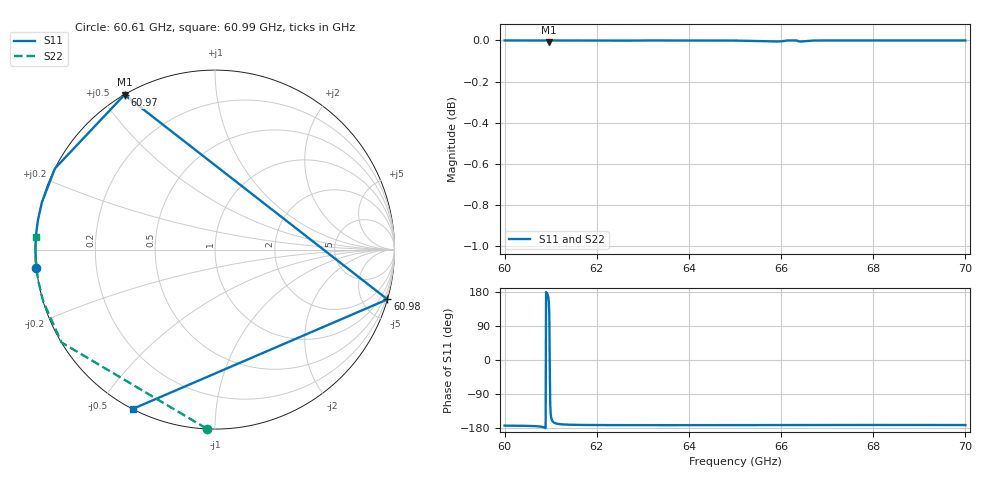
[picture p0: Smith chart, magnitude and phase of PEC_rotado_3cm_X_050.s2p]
! TOUCHSTONE file generated by CST MICROWAVE STUDIO
! Date and time: Sat Feb 17 19:24:12 2024
! Project name: metal_rotado.cst
! Parameters = {PX=0.5; angX=2; angY=2}
! Header version: 2018
! Port assignment regex: !\s*Touchstone port\s*([0-9]+)\s*=\s*(CST MWS port|CST DS port)\s*([0-9]+|Zmin|Zmax)\s*\(\"(.*)\"\)(\s*mode\s*([0-9]+))?.*
! Touchstone port assignment:
! Touchstone port 1 = CST MWS port 1 ("")
! Touchstone port 2 = CST MWS port 2 ("")
# GHz S MA R 376.7
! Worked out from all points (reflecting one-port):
!   1001 points, 60 GHz to 70 GHz, reference 376.7 ohm
!   lowest |S11| = 0.0 dB at 60.97 GHz (marker M1)
!   phase of S11 starts at -173 deg and turns -358 deg over the sweep
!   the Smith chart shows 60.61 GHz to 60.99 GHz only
!   S11 on the Smith chart (normalised r, x): 60.61 GHz: 0.00, -0.05; 60.97 GHz: 0.00, +0.57; 60.98 GHz: -0.00, -7.07; 60.99 GHz: 0.00, -0.61
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60  1 -173.2  0 0.0  0 0.0  1 173.7
60.45  1 -173.7  8.012e-66 180.0  8.012e-66 180.0  1 171.0
60.53  1 -173.9  8.012e-66 180.0  8.012e-66 180.0  1 167.2
60.55  1 -174.0  8.012e-66 180.0  8.012e-66 180.0  1 164.6
60.61  1 -174.2  8.006e-66 -180.0  8.006e-66 -180.0  0.9984 -92.7
60.66  1 -174.5  7.011e-66 -180.0  7.011e-66 -180.0  1 -175.4
60.71  1 -174.9  7.011e-66 -180.0  7.011e-66 -180.0  1 179.8
60.85  1 -177.6  6.009e-66 180.0  6.009e-66 180.0  1 176.7
60.91  1 177.9  5.008e-66 180.0  5.008e-66 180.0  1 176.3
60.93  1 174.0  3.558e-78 0.0  3.558e-78 0.0  1 176.2
60.97  0.9991 120.3  4.005e-66 180.0  4.005e-66 180.0  1 176.0
60.98  1 -16.1  4e-66 -180.0  4e-66 -180.0  1 175.9
60.99  1 -117.4  4.004e-66 -180.0  4.004e-66 -180.0  1 175.9
61.03  1 -159.3  4.006e-66 -180.0  4.006e-66 -180.0  1 175.7
61.04  1 -161.4  4.006e-66 -180.0  4.006e-66 -180.0  1 175.7
61.08  1 -165.7  4.006e-66 -180.0  4.006e-66 -180.0  1 175.6
61.67  1 -171.4  4.006e-66 -180.0  4.006e-66 -180.0  1 174.8
63.34  1 -172.0  1.002e-66 -180.0  1.002e-66 -180.0  1 174.5
65  0.9999 -171.9  0 0.0  0 0.0  1 174.4
66.67  0.9999 -171.5  4.006e-66 0.0  4.006e-66 0.0  0.9998 174.4
68.34  1 -171.4  7.011e-66 0.0  7.011e-66 0.0  1 174.1
70  1 -171.6  0 0.0  0 0.0  1 173.4
